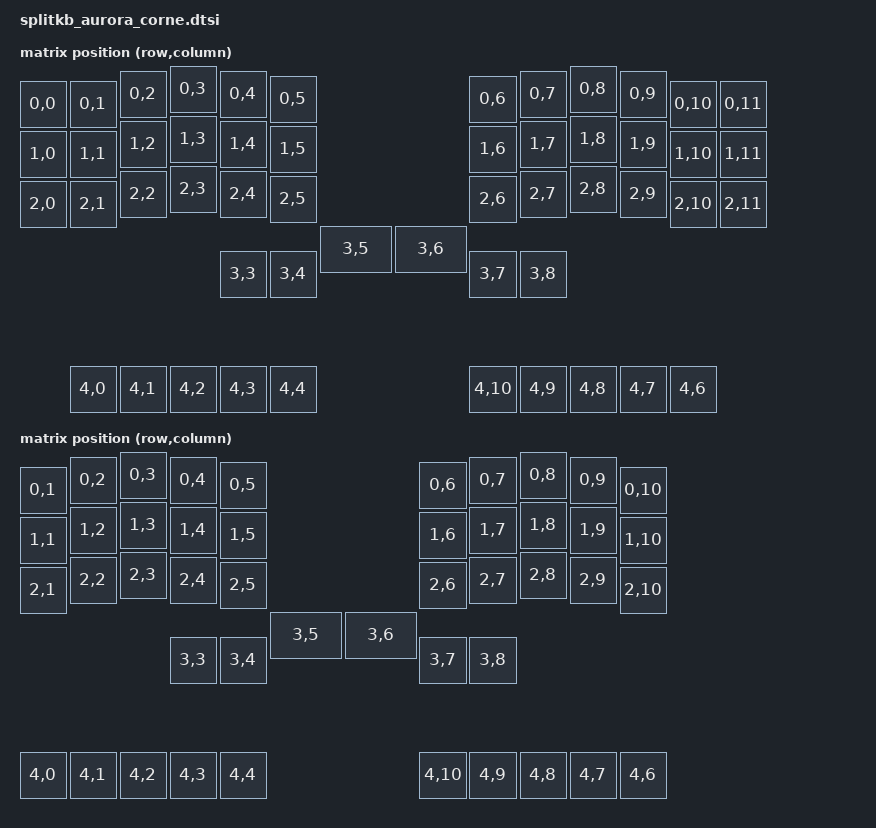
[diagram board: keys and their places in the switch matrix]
#include <physical_layouts.dtsi>
#include <dt-bindings/led/led.h>

/ {
    chosen {
        zmk,physical-layout = &halcyon_layout; 
        zmk,kscan = &kscan_composite;
        zmk,underglow = &led_strip;
    };
    
    halcyon_transform: keymap_transform_0 {
        compatible = "zmk,matrix-transform";
        columns = <12>;
        rows = <5>;
// | SW1  | SW2  | SW3  | SW4  | SW5  | SW6  |   | SW6  | SW5  | SW4  | SW3  | SW2  | SW1  |
// | SW7  | SW8  | SW9  | SW10 | SW11 | SW12 |   | SW12 | SW11 | SW10 | SW9  | SW8  | SW7  |
// | SW13 | SW14 | SW15 | SW16 | SW17 | SW18 |   | SW18 | SW17 | SW16 | SW15 | SW14 | SW13 |
//                      | SW19 | SW20 | SW21 |   | SW21 | SW20 | SW19 |
// | D0   | D1   | D2   | D3   | D4   |                 | D4   | D3   | D2   | D1   | D0   |
        map = <
RC(0,0) RC(0,1) RC(0,2) RC(0,3) RC(0,4) RC(0,5)  RC(0,6) RC(0,7) RC(0,8) RC(0,9) RC(0,10) RC(0,11)
RC(1,0) RC(1,1) RC(1,2) RC(1,3) RC(1,4) RC(1,5)  RC(1,6) RC(1,7) RC(1,8) RC(1,9) RC(1,10) RC(1,11)
RC(2,0) RC(2,1) RC(2,2) RC(2,3) RC(2,4) RC(2,5)  RC(2,6) RC(2,7) RC(2,8) RC(2,9) RC(2,10) RC(2,11)
                        RC(3,3) RC(3,4) RC(3,5)  RC(3,6) RC(3,7) RC(3,8)
RC(4,0) RC(4,1) RC(4,2) RC(4,3) RC(4,4)                  RC(4,10) RC(4,9) RC(4,8) RC(4,7) RC(4,6)
        >;
    };

    five_column_halcyon_transform: keymap_transform_1 {
        compatible = "zmk,matrix-transform";
        columns = <10>;
        rows = <5>;
// | SW2  | SW3  | SW4  | SW5  | SW6  |   | SW6  | SW5  | SW4  | SW3  | SW2  |
// | SW8  | SW9  | SW10 | SW11 | SW12 |   | SW12 | SW11 | SW10 | SW9  | SW8  |
// | SW14 | SW15 | SW16 | SW17 | SW18 |   | SW18 | SW17 | SW16 | SW15 | SW14 |
//               | SW19 | SW20 | SW21 |   | SW21 | SW20 | SW19 |
// | D0   | D1   | D2   | D3   | D4   |   | D4   | D3   | D2   | D1   | D0   |
        map = <
RC(0,1) RC(0,2) RC(0,3) RC(0,4) RC(0,5)  RC(0,6) RC(0,7) RC(0,8) RC(0,9) RC(0,10)
RC(1,1) RC(1,2) RC(1,3) RC(1,4) RC(1,5)  RC(1,6) RC(1,7) RC(1,8) RC(1,9) RC(1,10)
RC(2,1) RC(2,2) RC(2,3) RC(2,4) RC(2,5)  RC(2,6) RC(2,7) RC(2,8) RC(2,9) RC(2,10)
                RC(3,3) RC(3,4) RC(3,5)  RC(3,6) RC(3,7) RC(3,8)
RC(4,0) RC(4,1) RC(4,2) RC(4,3) RC(4,4)  RC(4,10) RC(4,9) RC(4,8) RC(4,7) RC(4,6)
        >;
    };

    halcyon_layout: halcyon_layout {
        compatible = "zmk,physical-layout";
        display-name = "Aurora Corne";
        transform = <&halcyon_transform>;

        keys  //                     w   h    x    y     rot    rx    ry
            = <&key_physical_attrs 100 100    0   30       0     0     0>
            , <&key_physical_attrs 100 100  100   30       0     0     0>
            , <&key_physical_attrs 100 100  200   10       0     0     0>
            , <&key_physical_attrs 100 100  300    0       0     0     0>
            , <&key_physical_attrs 100 100  400   10       0     0     0>
            , <&key_physical_attrs 100 100  500   20       0     0     0>
            , <&key_physical_attrs 100 100  900   20       0     0     0>
            , <&key_physical_attrs 100 100 1000   10       0     0     0>
            , <&key_physical_attrs 100 100 1100    0       0     0     0>
            , <&key_physical_attrs 100 100 1200   10       0     0     0>
            , <&key_physical_attrs 100 100 1300   30       0     0     0>
            , <&key_physical_attrs 100 100 1400   30       0     0     0>
            , <&key_physical_attrs 100 100    0  130       0     0     0>
            , <&key_physical_attrs 100 100  100  130       0     0     0>
            , <&key_physical_attrs 100 100  200  110       0     0     0>
            , <&key_physical_attrs 100 100  300  100       0     0     0>
            , <&key_physical_attrs 100 100  400  110       0     0     0>
            , <&key_physical_attrs 100 100  500  120       0     0     0>
            , <&key_physical_attrs 100 100  900  120       0     0     0>
            , <&key_physical_attrs 100 100 1000  110       0     0     0>
            , <&key_physical_attrs 100 100 1100  100       0     0     0>
            , <&key_physical_attrs 100 100 1200  110       0     0     0>
            , <&key_physical_attrs 100 100 1300  130       0     0     0>
            , <&key_physical_attrs 100 100 1400  130       0     0     0>
            , <&key_physical_attrs 100 100    0  230       0     0     0>
            , <&key_physical_attrs 100 100  100  230       0     0     0>
            , <&key_physical_attrs 100 100  200  210       0     0     0>
            , <&key_physical_attrs 100 100  300  200       0     0     0>
            , <&key_physical_attrs 100 100  400  210       0     0     0>
            , <&key_physical_attrs 100 100  500  220       0     0     0>
            , <&key_physical_attrs 100 100  900  220       0     0     0>
            , <&key_physical_attrs 100 100 1000  210       0     0     0>
            , <&key_physical_attrs 100 100 1100  200       0     0     0>
            , <&key_physical_attrs 100 100 1200  210       0     0     0>
            , <&key_physical_attrs 100 100 1300  230       0     0     0>
            , <&key_physical_attrs 100 100 1400  230       0     0     0>
            , <&key_physical_attrs 100 100  400  370       0     0     0>
            , <&key_physical_attrs 100 100  500  370       0     0     0>
            , <&key_physical_attrs 150 100  600  320       0     0     0>
            , <&key_physical_attrs 150 100  750  320       0     0     0>
            , <&key_physical_attrs 100 100  900  370       0     0     0>
            , <&key_physical_attrs 100 100 1000  370       0     0     0>
            , <&key_physical_attrs 100 100  100  600       0     0     0>
            , <&key_physical_attrs 100 100  200  600       0     0     0>
            , <&key_physical_attrs 100 100  300  600       0     0     0>
            , <&key_physical_attrs 100 100  400  600       0     0     0>
            , <&key_physical_attrs 100 100  500  600       0     0     0>
            , <&key_physical_attrs 100 100  900  600       0     0     0>
            , <&key_physical_attrs 100 100 1000  600       0     0     0>
            , <&key_physical_attrs 100 100 1100  600       0     0     0>
            , <&key_physical_attrs 100 100 1200  600       0     0     0>
            , <&key_physical_attrs 100 100 1300  600       0     0     0>
            ;
    };

    halcyon_layout_5col: halcyon_layout_5col {
        compatible = "zmk,physical-layout";
        display-name = "Halcyon Corne 5 Column";
        transform = <&five_column_halcyon_transform>;

        keys  //                     w   h    x    y     rot    rx    ry
            = <&key_physical_attrs 100 100  100   30       0     0     0>
            , <&key_physical_attrs 100 100  200   10       0     0     0>
            , <&key_physical_attrs 100 100  300    0       0     0     0>
            , <&key_physical_attrs 100 100  400   10       0     0     0>
            , <&key_physical_attrs 100 100  500   20       0     0     0>
            , <&key_physical_attrs 100 100  900   20       0     0     0>
            , <&key_physical_attrs 100 100 1000   10       0     0     0>
            , <&key_physical_attrs 100 100 1100    0       0     0     0>
            , <&key_physical_attrs 100 100 1200   10       0     0     0>
            , <&key_physical_attrs 100 100 1300   30       0     0     0>
            , <&key_physical_attrs 100 100  100  130       0     0     0>
            , <&key_physical_attrs 100 100  200  110       0     0     0>
            , <&key_physical_attrs 100 100  300  100       0     0     0>
            , <&key_physical_attrs 100 100  400  110       0     0     0>
            , <&key_physical_attrs 100 100  500  120       0     0     0>
            , <&key_physical_attrs 100 100  900  120       0     0     0>
            , <&key_physical_attrs 100 100 1000  110       0     0     0>
            , <&key_physical_attrs 100 100 1100  100       0     0     0>
            , <&key_physical_attrs 100 100 1200  110       0     0     0>
            , <&key_physical_attrs 100 100 1300  130       0     0     0>
            , <&key_physical_attrs 100 100  100  230       0     0     0>
            , <&key_physical_attrs 100 100  200  210       0     0     0>
            , <&key_physical_attrs 100 100  300  200       0     0     0>
            , <&key_physical_attrs 100 100  400  210       0     0     0>
            , <&key_physical_attrs 100 100  500  220       0     0     0>
            , <&key_physical_attrs 100 100  900  220       0     0     0>
            , <&key_physical_attrs 100 100 1000  210       0     0     0>
            , <&key_physical_attrs 100 100 1100  200       0     0     0>
            , <&key_physical_attrs 100 100 1200  210       0     0     0>
            , <&key_physical_attrs 100 100 1300  230       0     0     0>
            , <&key_physical_attrs 100 100  400  370       0     0     0>
            , <&key_physical_attrs 100 100  500  370       0     0     0>
            , <&key_physical_attrs 150 100  600  320       0     0     0>
            , <&key_physical_attrs 150 100  750  320       0     0     0>
            , <&key_physical_attrs 100 100  900  370       0     0     0>
            , <&key_physical_attrs 100 100 1000  370       0     0     0>
            , <&key_physical_attrs 100 100  100  600       0     0     0>
            , <&key_physical_attrs 100 100  200  600       0     0     0>
            , <&key_physical_attrs 100 100  300  600       0     0     0>
            , <&key_physical_attrs 100 100  400  600       0     0     0>
            , <&key_physical_attrs 100 100  500  600       0     0     0>
            , <&key_physical_attrs 100 100  900  600       0     0     0>
            , <&key_physical_attrs 100 100 1000  600       0     0     0>
            , <&key_physical_attrs 100 100 1100  600       0     0     0>
            , <&key_physical_attrs 100 100 1200  600       0     0     0>
            , <&key_physical_attrs 100 100 1300  600       0     0     0>
            ;
    };

    kscan_composite: kscan_composite {
        compatible = "zmk,kscan-composite";
        columns = <12>; // Match your keyboard's column count
        rows = <5>;    // Total rows including the Halcyon row
        wakeup-source;

        matrix {
            kscan = <&kscan>; // Match your keyboard's existing kscan
        };

        halcyon {
            kscan = <&kscan_halcyon>;
            row-offset = <4>; // Number of existing rows (0-indexed)
        };
    };

    sensors: sensors {
        compatible = "zmk,keymap-sensors";
        // Place Halcyon encoders before your physical board encoders
        sensors = <&left_halcyon_encoder &right_halcyon_encoder &left_encoder &right_encoder>;
        triggers-per-rotation = <20>;
    };
};

&pinctrl {
    spi2_default: spi2_default {
        group1 {
            psels = <NRF_PSEL(SPIM_SCK, 1, 4)>, /* Not connected */
                    <NRF_PSEL(SPIM_MOSI, 0, 27)>;
        };
    };

    spi2_sleep: spi2_sleep {
        group1 {
            psels = <NRF_PSEL(SPIM_SCK, 1, 4)>, /* Not connected */
                    <NRF_PSEL(SPIM_MOSI, 0, 27)>;
            low-power-enable;
        };
    };
};

&spi2 {
    compatible = "nordic,nrf-spim";
    status = "okay";

    pinctrl-0 = <&spi2_default>;
    pinctrl-1 = <&spi2_sleep>;
    pinctrl-names = "default", "sleep";

    led_strip: ws2812@0 {
        compatible = "worldsemi,ws2812-spi";

        /* SPI */
        reg = <0>; /* ignored, but necessary for SPI bindings */
        spi-max-frequency = <4000000>;

        /* WS2812 */
        chain-length = <27>; /* arbitrary; change at will */
        spi-one-frame = <0x70>;
        spi-zero-frame = <0x40>;

        color-mapping = <LED_COLOR_ID_GREEN 
                LED_COLOR_ID_RED 
                LED_COLOR_ID_BLUE>;
    };
};
